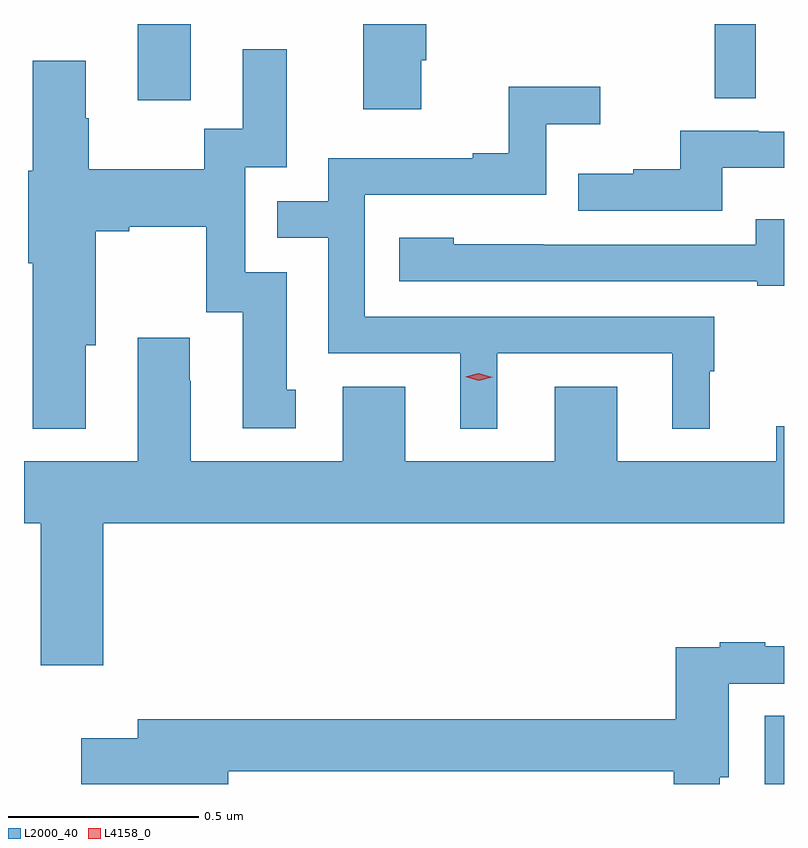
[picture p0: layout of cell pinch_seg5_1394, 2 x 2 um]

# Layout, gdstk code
import gdstk
lib = gdstk.Library(unit=1e-6, precision=1e-09)
def R(c, l, rs):  # rectangles x0, y0, x1, y1
    for r in rs: c.add(gdstk.rectangle(r[:2], r[2:], *l))
def P(c, l, *ps):  # polygons
    for p in ps: c.add(gdstk.Polygon(p, *l))
L2000_40 = (2000, 40)
L4158_0 = (4158, 0)

pinch_seg5_1394 = lib.new_cell('pinch_seg5_1394')
R(pinch_seg5_1394, L2000_40, [(250.829,886.71,250.88,886.889), (249.179,888.51,249.319,888.71), (250.698,888.514,250.806,888.71)])
P(pinch_seg5_1394, L2000_40, [(249.925,888.615),(249.938,888.615),(249.938,888.71),(249.773,888.71),(249.773,888.486),(249.925,888.486)],
  [(249.043,887.865),(249.069,887.865),(249.069,888.164),(249.157,888.164),(249.157,888.176),(249.359,888.176),(249.359,887.952),(249.455,887.952),(249.455,887.646),(249.595,887.646),(249.595,887.748),(249.571,887.748),(249.571,888.057),(249.462,888.057),(249.462,888.333),(249.571,888.333),(249.571,888.643),(249.455,888.643),(249.455,888.434),(249.354,888.434),(249.354,888.328),(249.051,888.328),(249.051,888.462),(249.043,888.462),(249.043,888.613),(248.903,888.613),(248.903,888.324),(248.891,888.324),(248.891,888.08),(248.903,888.08),(248.903,887.645),(249.043,887.645)],
  [(250.126,887.844),(250.586,887.844),(250.586,887.645),(250.684,887.645),(250.684,887.796),(250.696,887.796),(250.696,887.94),(249.777,887.94),(249.777,888.261),(250.254,888.261),(250.254,888.446),(250.396,888.446),(250.396,888.545),(250.156,888.545),(250.156,888.37),(250.061,888.37),(250.061,888.357),(249.681,888.357),(249.681,888.243),(249.547,888.243),(249.547,888.147),(249.681,888.147),(249.681,887.844),(250.028,887.844),(250.028,887.645),(250.126,887.645)],
  [(250.717,888.332),(250.88,888.332),(250.88,888.426),(250.814,888.426),(250.814,888.429),(250.607,888.429),(250.607,888.328),(250.483,888.328),(250.483,888.316),(250.339,888.316),(250.339,888.219),(250.717,888.219)],
  [(250.88,888.196),(250.805,888.196),(250.805,888.129),(250.247,888.129),(250.247,888.13),(250.011,888.13),(250.011,888.148),(249.867,888.148),(249.867,888.033),(250.809,888.033),(250.809,888.021),(250.88,888.021)],
  [(249.088,887.396),(250.88,887.396),(250.88,887.651),(250.859,887.651),(250.859,887.56),(250.441,887.56),(250.441,887.755),(250.277,887.755),(250.277,887.56),(249.883,887.56),(249.883,887.755),(249.719,887.755),(249.719,887.56),(249.319,887.56),(249.319,887.771),(249.316,887.771),(249.316,887.884),(249.179,887.884),(249.179,887.56),(248.88,887.56),(248.88,887.396),(248.924,887.396),(248.924,887.022),(249.088,887.022)],
  [(249.418,886.744),(250.59,886.744),(250.59,886.71),(250.711,886.71),(250.711,886.728),(250.735,886.728),(250.735,886.974),(250.88,886.974),(250.88,887.073),(250.831,887.073),(250.831,887.083),(250.711,887.083),(250.711,887.07),(250.595,887.07),(250.595,886.88),(249.179,886.88),(249.179,886.831),(249.03,886.831),(249.03,886.71),(249.418,886.71)])
P(pinch_seg5_1394, L4158_0, [(250.077,887.771),(250.041,887.782),(250.041,887.782),(250.041,887.782),(250.077,887.791),(250.112,887.781),(250.113,887.781),(250.112,887.78)])

lib.write_gds('pinch_seg5_1394.gds')
